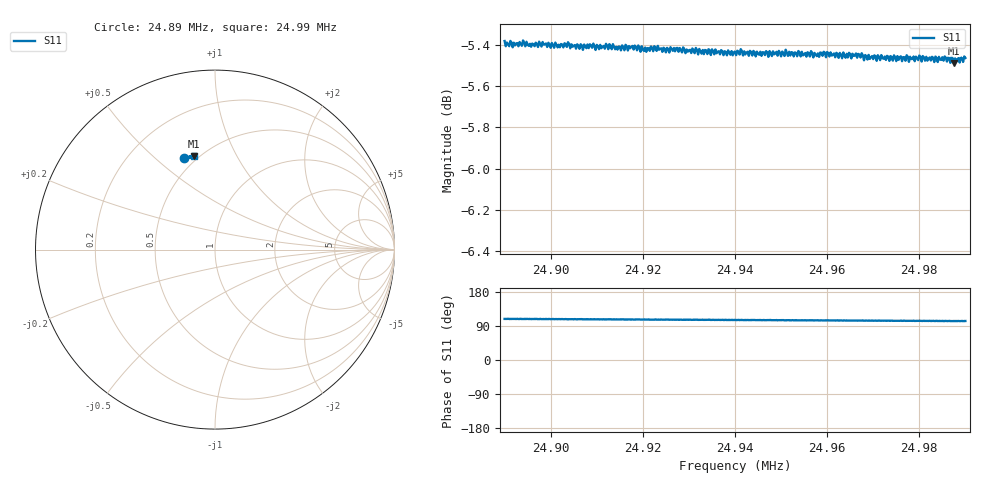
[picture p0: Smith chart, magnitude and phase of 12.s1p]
# Hz S RI R 50
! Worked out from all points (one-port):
!   401 points, 24.89 MHz to 24.99 MHz, reference 50 ohm
!   lowest |S11| = -5.5 dB at 24.9875 MHz (marker M1), VSWR 3.27, Z = 23.7 + j34.2 ohm
!   |S11| at or under -10 dB: nowhere
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2.489e7  -0.1705 0.5106
2.4891e7  -0.1686 0.5096
2.49025e7  -0.1667 0.5107
2.4915e7  -0.1599 0.5121
2.491875e7  -0.1537 0.5129
2.492475e7  -0.1546 0.5132
2.4925e7  -0.1501 0.5134
2.49275e7  -0.153 0.5139
2.49285e7  -0.1484 0.5138
2.493175e7  -0.1507 0.5139
2.4934e7  -0.1454 0.5142
2.49345e7  -0.1494 0.5142
2.493475e7  -0.1448 0.5141
2.494e7  -0.1462 0.5147
2.494375e7  -0.1401 0.5152
2.494625e7  -0.1429 0.5154
2.49465e7  -0.1388 0.5157
2.4947e7  -0.1428 0.5155
2.494725e7  -0.1382 0.5153
2.49525e7  -0.1398 0.5163
2.495625e7  -0.1335 0.5167
2.496225e7  -0.1347 0.5172
2.49625e7  -0.1303 0.5171
2.4965e7  -0.133 0.5175
2.49775e7  -0.126 0.5185
2.49875e7  -0.1167 0.5187
2.498925e7  -0.1199 0.5194
2.499e7  -0.1194 0.5197
